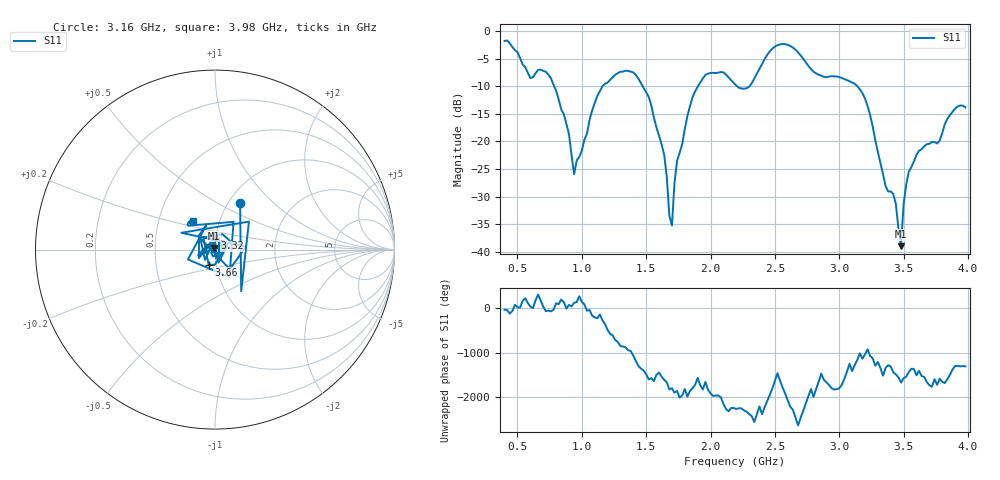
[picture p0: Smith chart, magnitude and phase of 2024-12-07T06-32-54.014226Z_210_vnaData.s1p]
!Created with skrf (http://scikit-rf.org).
# Hz S RI R 50.0
!freq ReS11 ImS11
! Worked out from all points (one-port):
!   180 points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, 400 MHz to 3.98 GHz, reference 50 ohm
!   lowest |S11| = -39.0 dB at 3.48 GHz (marker M1), VSWR 1.02, Z = 49.4 + j0.943 ohm
!   |S11| at or under -10 dB: 785.2 MHz to 1.16 GHz (374.5 MHz wide, 38.5 % of centre); 1.473 GHz to 1.901 GHz (428.8 MHz wide, 25.4 % of centre); 3.141 GHz to end of sweep (the widest 3 of 4)
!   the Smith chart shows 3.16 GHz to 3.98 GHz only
!   S11 on the Smith chart (normalised r, x): 3.16 GHz: 1.13, +0.65; 3.32 GHz: 0.99, +0.13; 3.66 GHz: 0.92, -0.15; 3.98 GHz: 0.74, +0.25
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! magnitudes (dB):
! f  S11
! 400 MHz  -1.8
! 600 MHz  -8.5
! 740 MHz  -7.9
! 860 MHz  -15.1
! 940 MHz  -26.0
! 1.12 GHz  -11.8
! 1.3 GHz  -7.4
! 1.52 GHz  -11.9
! 1.64 GHz  -22.4
! 1.68 GHz  -33.5
! 1.7 GHz  -35.2
! 1.72 GHz  -27.5
! 1.76 GHz  -22.0
! 1.86 GHz  -12.0
! 1.96 GHz  -8.0
! 2.2 GHz  -9.9
! 2.3 GHz  -10.1
! 2.5 GHz  -2.8
! 2.64 GHz  -3.0
! 3.1 GHz  -9.3
! 3.16 GHz  -10.6
! 3.32 GHz  -23.9
! 3.44 GHz  -31.4
! 3.48 GHz  -39.0
! 3.5 GHz  -31.4
! 3.54 GHz  -25.5
! 3.66 GHz  -20.9
! 3.98 GHz  -13.8
